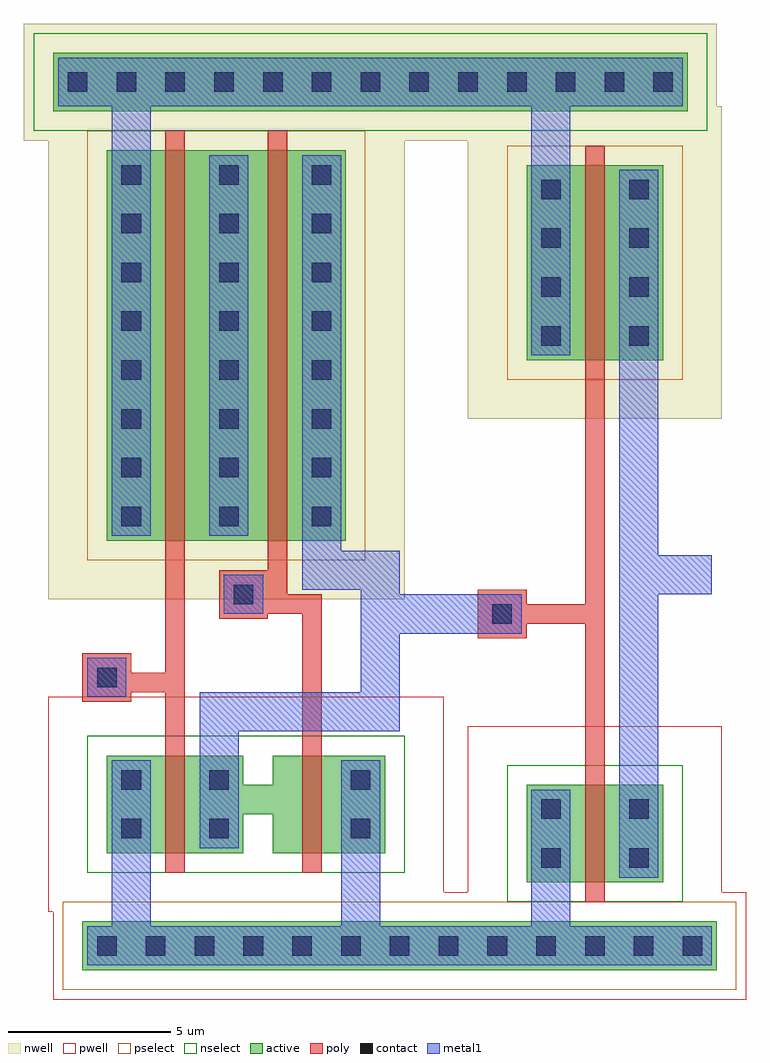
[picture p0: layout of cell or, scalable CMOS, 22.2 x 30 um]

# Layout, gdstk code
import gdstk
lib = gdstk.Library(unit=1e-6, precision=1e-09)
def R(c, l, rs):  # rectangles x0, y0, x1, y1
    for r in rs: c.add(gdstk.rectangle(r[:2], r[2:], *l))
def A(c, l, x, y, w, h, nx, ny, dx, dy):  # array of equal rectangles
    R(c, l, [(x+i*dx, y+j*dy, x+i*dx+w, y+j*dy+h) for i in range(nx) for j in range(ny)])
contact = (25, 0)
pwell = (41, 0)
nwell = (42, 0)
active = (43, 0)
pselect = (44, 0)
nselect = (45, 0)
poly = (46, 0)
metal1 = (49, 0)

c_or = lib.new_cell('or')
A(c_or, contact, 1.5, 1.35, 0.6, 0.6, 13, 1, 1.5, 0)
A(c_or, contact, 2.25, 14.55, 0.6, 0.6, 1, 8, 0, 1.5)
A(c_or, contact, 5.25, 14.55, 0.6, 0.6, 1, 8, 0, 1.5)
A(c_or, contact, 8.1, 14.55, 0.6, 0.6, 1, 8, 0, 1.5)
A(c_or, contact, 15.15, 20.1, 0.6, 0.6, 1, 4, 0, 1.5)
A(c_or, contact, 17.85, 20.1, 0.6, 0.6, 1, 4, 0, 1.5)
A(c_or, contact, 0.6, 27.9, 0.6, 0.6, 13, 1, 1.5, 0)
R(c_or, contact, [(15.15,4.05,15.75,4.65), (17.85,4.05,18.45,4.65), (2.25,4.95,2.85,5.55), (4.95,4.95,5.55,5.55), (9.3,4.95,9.9,5.55), (15.15,5.55,15.75,6.15), (17.85,5.55,18.45,6.15), (2.25,6.45,2.85,7.05), (4.95,6.45,5.55,7.05), (9.3,6.45,9.9,7.05), (1.5,9.6,2.1,10.2), (13.65,11.55,14.25,12.15), (5.7,12.15,6.3,12.75)])
R(c_or, pwell, [(0.15,0,21.45,3.3), (12.9,1.8,18,8.4), (13.8,1.8,19.8,8.4), (15.6,1.8,20.7,8.4), (0,2.7,5.1,9.3), (0.9,2.7,6.9,9.3), (2.7,2.7,7.8,9.3), (5.1,2.7,11.1,9.3), (7.05,2.7,12.15,9.3), (13.2,2.85,17.925,7.35), (15.675,2.85,20.4,7.35), (0.3,3.6,5.025,8.1), (6.975,3.75,11.7,8.25), (2.775,3.9,7.65,8.4), (3.15,3.9,9.225,8.4)])
R(c_or, nwell, [(0,12.3,5.1,27.9), (0.9,12.3,6.9,27.9), (3,12.3,8.1,27.9), (4.05,12.3,10.05,27.9), (5.85,12.3,10.95,27.9), (12.9,17.85,18,27.45), (13.8,17.85,19.8,27.45), (15.6,17.85,20.7,27.45), (0.3,18.6,5.025,23.1), (2.775,18.6,7.95,23.1), (3.45,18.6,8.175,23.1), (5.925,18.6,10.8,23.1), (13.2,20.4,17.925,24.9), (15.675,20.4,20.4,24.9), (-0.75,26.4,20.55,30)])
R(c_or, active, [(1.05,0.9,20.55,2.4), (14.7,3.6,16.2,6.6), (15.6,3.6,18,6.6), (17.4,3.6,18.9,6.6), (1.8,4.5,3.3,7.5), (2.7,4.5,5.1,7.5), (4.5,4.5,6,7.5), (6.9,4.5,9.3,7.5), (8.85,4.5,10.35,7.5), (15,4.65,16.125,5.55), (17.475,4.65,18.6,5.55), (2.1,5.4,3.225,6.3), (8.775,5.55,9.9,6.45), (4.575,5.7,5.85,6.6), (4.95,5.7,7.425,6.6), (1.8,14.1,3.3,26.1), (2.7,14.1,5.1,26.1), (4.8,14.1,6.3,26.1), (5.85,14.1,8.25,26.1), (7.65,14.1,9.15,26.1), (14.7,19.65,16.2,25.65), (15.6,19.65,18,25.65), (17.4,19.65,18.9,25.65), (2.1,20.4,3.225,21.3), (4.575,20.4,6.15,21.3), (5.25,20.4,6.375,21.3), (7.725,20.4,9,21.3), (15,22.2,16.125,23.1), (17.475,22.2,18.6,23.1), (0.15,27.3,19.65,29.1)])
R(c_or, pselect, [(0.45,0.3,21.15,3), (1.2,13.5,3.9,26.7), (2.1,13.5,5.7,26.7), (4.2,13.5,6.9,26.7), (5.25,13.5,8.85,26.7), (7.05,13.5,9.75,26.7), (14.1,19.05,16.8,26.25), (15,19.05,18.6,26.25), (16.8,19.05,19.5,26.25), (1.5,19.8,3.825,21.9), (3.975,19.8,6.75,21.9), (4.65,19.8,6.975,21.9), (7.125,19.8,9.6,21.9), (14.4,21.6,16.725,23.7), (16.875,21.6,19.2,23.7)])
R(c_or, nselect, [(14.1,3,16.8,7.2), (15,3,18.6,7.2), (16.8,3,19.5,7.2), (1.2,3.9,3.9,8.1), (2.1,3.9,5.7,8.1), (3.9,3.9,6.6,8.1), (6.3,3.9,9.9,8.1), (8.25,3.9,10.95,8.1), (14.4,4.05,16.725,6.15), (16.875,4.05,19.2,6.15), (1.5,4.8,3.825,6.9), (8.175,4.95,10.5,7.05), (3.975,5.1,6.45,7.2), (4.35,5.1,8.025,7.2), (-0.45,26.7,20.25,29.7)])
R(c_or, poly, [(16.5,3,17.1,7.2), (3.6,3.9,4.2,8.1), (7.8,3.9,8.4,8.1), (16.5,6.9,17.1,7.5), (16.5,6.9,17.1,12.15), (3.6,7.8,4.2,10.05), (7.8,7.8,8.4,12.45), (1.05,9.15,2.55,10.65), (1.5,9.45,4.2,10.05), (3.6,9.45,4.2,10.2), (3.6,9.6,4.2,11.1), (3.6,9.6,4.2,10.8), (3.6,10.5,4.2,13.8), (13.2,11.1,14.7,12.6), (13.65,11.55,17.1,12.15), (16.5,11.55,17.1,19.35), (5.25,11.7,6.75,13.2), (6.75,11.85,7.35,12.9), (6.75,11.85,8.4,12.45), (5.55,12.3,7.35,12.9), (6.75,12.3,7.35,13.8), (3.6,13.5,4.2,26.7), (6.75,13.5,7.35,26.7), (16.5,19.05,17.1,26.25)])
R(c_or, metal1, [(1.2,1.05,20.4,2.25), (1.95,1.05,3.15,6.6), (9,1.05,10.2,6.6), (14.85,1.05,16.05,5.7), (14.85,3.75,16.05,6.45), (17.55,3.75,18.75,6.45), (17.55,4.5,18.75,13.65), (1.95,4.65,3.15,7.35), (4.65,4.65,5.85,7.35), (9,4.65,10.2,7.35), (4.65,5.4,5.85,8.55), (4.65,7.35,5.85,9.45), (4.65,8.25,10.8,9.45), (9.6,8.25,10.8,12.45), (1.2,9.3,2.4,10.5), (9.6,11.25,10.8,13.8), (9.6,11.25,14.55,12.45), (13.35,11.25,14.55,12.45), (5.4,11.85,6.6,13.05), (17.55,12.45,18.75,23.25), (17.55,12.45,20.4,13.65), (7.8,12.6,10.8,13.8), (7.8,12.6,9,20.7), (1.95,14.25,3.15,25.95), (4.95,14.25,6.15,25.95), (7.8,14.25,9,25.95), (1.95,19.5,3.15,28.65), (14.85,19.8,16.05,25.5), (17.55,19.8,18.75,25.5), (14.85,22.05,16.05,28.65), (0.3,27.45,19.5,28.95)])

lib.write_gds('or.gds')
